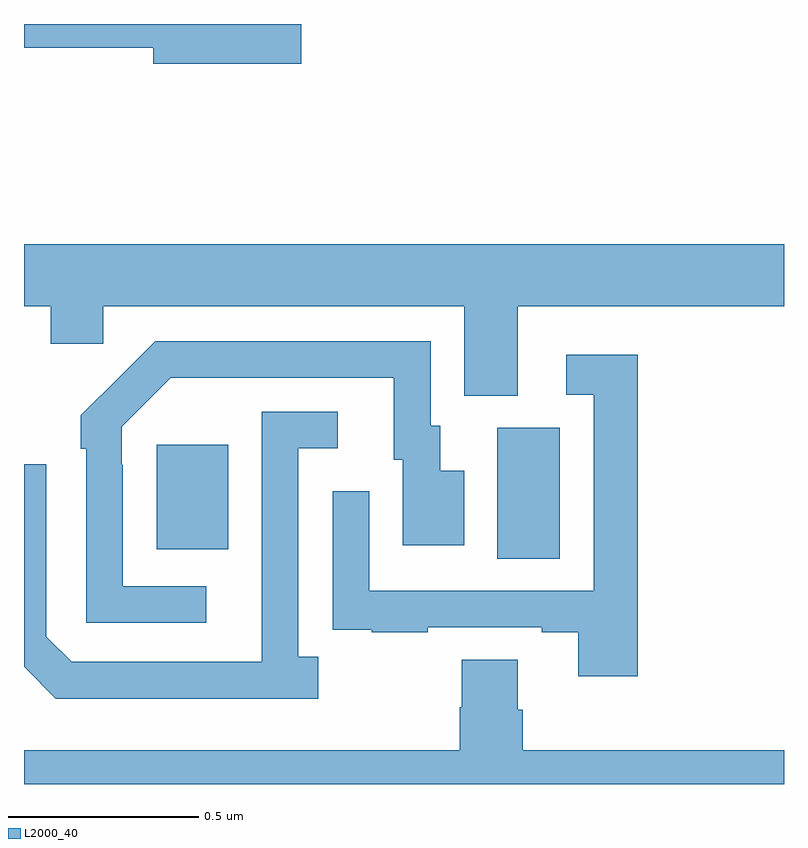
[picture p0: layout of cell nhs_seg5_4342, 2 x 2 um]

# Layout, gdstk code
import gdstk
lib = gdstk.Library(unit=1e-6, precision=1e-09)
def R(c, l, rs):  # rectangles x0, y0, x1, y1
    for r in rs: c.add(gdstk.rectangle(r[:2], r[2:], *l))
def P(c, l, *ps):  # polygons
    for p in ps: c.add(gdstk.Polygon(p, *l))
L2000_40 = (2000, 40)

nhs_seg5_4342 = lib.new_cell('nhs_seg5_4342')
R(nhs_seg5_4342, L2000_40, [(170.246,893.392,170.41,893.736), (169.349,893.417,169.537,893.692)])
P(nhs_seg5_4342, L2000_40, [(169.729,894.799),(169,894.799),(169,894.736),(169.34,894.736),(169.34,894.694),(169.729,894.694)],
  [(170.299,894.056),(171,894.056),(171,894.22),(169,894.22),(169,894.056),(169.07,894.056),(169.07,893.958),(169.209,893.958),(169.209,894.056),(170.159,894.056),(170.159,893.821),(170.299,893.821)],
  [(169.48,893.319),(169.26,893.319),(169.26,893.639),(169.257,893.639),(169.257,893.739),(169.386,893.868),(169.973,893.868),(169.973,893.652),(169.997,893.652),(169.997,893.427),(170.158,893.427),(170.158,893.623),(170.095,893.623),(170.095,893.742),(170.07,893.742),(170.07,893.964),(169.346,893.964),(169.255,893.873),(169.254,893.874),(169.149,893.769),(169.149,893.681),(169.164,893.681),(169.164,893.223),(169.48,893.223)],
  [(170.615,893.929),(170.427,893.929),(170.427,893.823),(170.499,893.823),(170.499,893.307),(169.908,893.307),(169.908,893.569),(169.812,893.569),(169.812,893.314),(169.813,893.314),(169.813,893.205),(169.915,893.205),(169.915,893.199),(170.063,893.199),(170.063,893.211),(170.363,893.211),(170.363,893.199),(170.459,893.199),(170.459,893.082),(170.615,893.082)],
  [(169.774,893.134),(169.722,893.134),(169.722,893.682),(169.825,893.682),(169.825,893.778),(169.626,893.778),(169.626,893.321),(169.625,893.321),(169.625,893.121),(169.125,893.121),(169.059,893.187),(169.059,893.641),(169,893.641),(169,893.108),(169.084,893.024),(169.774,893.024)],
  [(171,892.888),(170.312,892.888),(170.312,892.994),(170.299,892.994),(170.299,893.126),(170.152,893.126),(170.152,893.001),(170.147,893.001),(170.147,892.888),(169,892.888),(169,892.799),(171,892.799)])

lib.write_gds('nhs_seg5_4342.gds')
